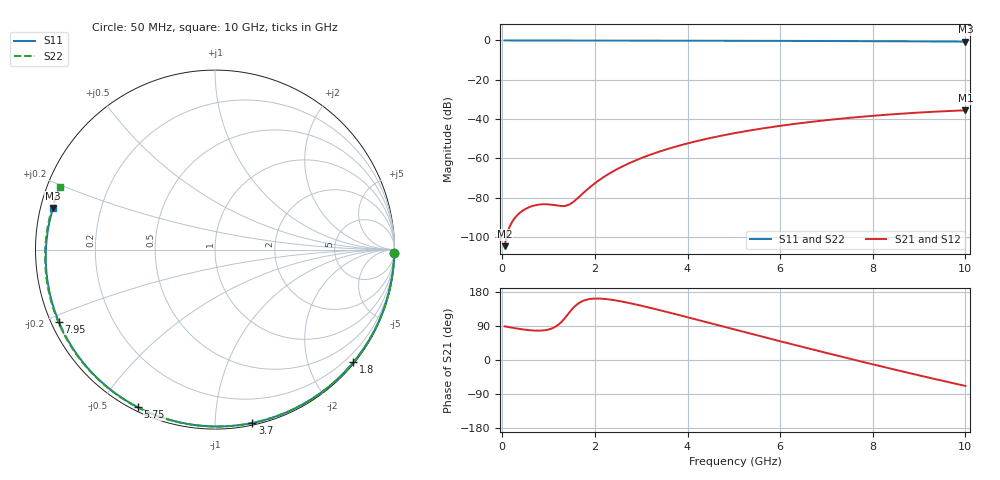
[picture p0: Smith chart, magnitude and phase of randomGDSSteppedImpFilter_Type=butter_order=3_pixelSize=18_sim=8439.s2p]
! freq	dB(S11)	phase(S11)	dB(S12)	phase(S12)
!  dB(S21)	phase(S21)	dB(S22)	phase(S22)
!S-par simulation data
#  GHz  S  DB  R 50
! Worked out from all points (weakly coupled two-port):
!   200 points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, 50 MHz to 10 GHz, reference 50 ohm
!   highest |S21| = -35.56 dB at 10 GHz (marker M1); lowest = -104.7 dB at 50 MHz (marker M2)
!   lowest |S11| = -0.6 dB at 10 GHz (marker M3), VSWR 28.16, Z = 1.8 + j6.26 ohm
!   |S11| at or under -10 dB: nowhere
!   |S22| runs from -0.6 to 0.0 dB; largest |S21 - S12| = 0
!   S11 on the Smith chart (normalised r, x): 50 MHz: open; 1.8 GHz: 0.03, -2.81; 3.7 GHz: 0.02, -1.24; 5.75 GHz: 0.02, -0.62; 7.95 GHz: 0.02, -0.22; 10 GHz: 0.04, +0.13
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0.05  -0.00 -1.1  -104.71 88.9  -104.71 88.9  -0.01 -1.1
0.45  -0.02 -9.9  -86.50 80.6  -86.50 80.6  -0.02 -10.4
0.8  -0.02 -17.6  -83.53 77.5  -83.53 77.5  -0.02 -18.5
1.6  -0.04 -34.9  -80.87 145.3  -80.87 145.3  -0.05 -36.5
1.65  -0.05 -36.0  -79.81 149.9  -79.81 149.9  -0.05 -37.7
1.75  -0.05 -38.1  -77.64 156.4  -77.64 156.4  -0.05 -39.9
1.8  -0.05 -39.2  -76.58 158.5  -76.58 158.5  -0.05 -41.0
1.95  -0.05 -42.3  -73.60 161.8  -73.60 161.8  -0.06 -44.3
2.15  -0.06 -46.5  -70.15 161.8  -70.15 161.8  -0.06 -48.7
2.5  -0.07 -53.8  -65.25 156.1  -65.25 156.1  -0.07 -56.2
2.9  -0.08 -61.9  -60.85 146.1  -60.85 146.1  -0.08 -64.7
3.4  -0.10 -71.9  -56.51 131.5  -56.51 131.5  -0.10 -75.1
3.7  -0.11 -77.8  -54.33 122.3  -54.33 122.3  -0.11 -81.2
4.35  -0.13 -90.3  -50.40 101.7  -50.40 101.7  -0.13 -94.0
5.05  -0.16 -103.3  -47.03 79.5  -47.03 79.5  -0.16 -107.5
5.75  -0.20 -116.0  -44.31 57.3  -44.31 57.3  -0.20 -120.6
6.7  -0.26 -133.0  -41.36 27.8  -41.36 27.8  -0.26 -138.1
7.35  -0.31 -144.5  -39.73 8.0  -39.73 8.0  -0.32 -150.0
7.95  -0.37 -155.2  -38.45 -9.9  -38.45 -9.9  -0.37 -161.1
8.35  -0.41 -162.5  -37.72 -21.7  -37.72 -21.7  -0.42 -168.7
9.2  -0.51 -178.4  -36.43 -46.3  -36.43 -46.3  -0.52 174.7
10  -0.62 165.7  -35.56 -68.4  -35.56 -68.4  -0.63 157.9
